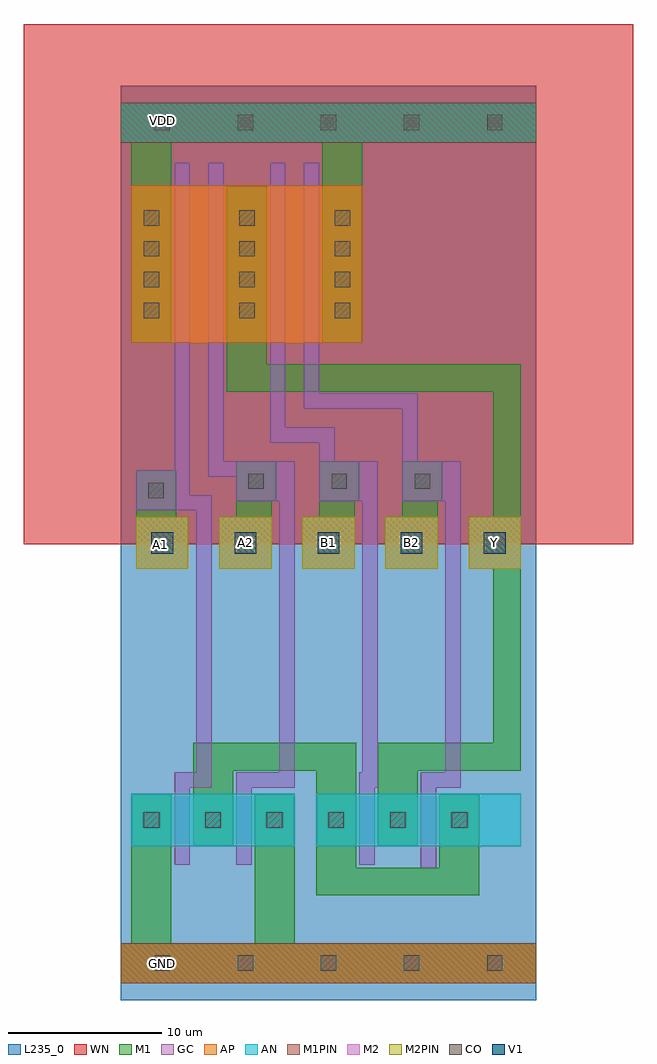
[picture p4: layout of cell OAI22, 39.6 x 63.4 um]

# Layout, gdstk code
import gdstk
lib = gdstk.Library(unit=1e-6, precision=1e-09)
def R(c, l, rs):  # rectangles x0, y0, x1, y1
    for r in rs: c.add(gdstk.rectangle(r[:2], r[2:], *l))
def A(c, l, x, y, w, h, nx, ny, dx, dy):  # array of equal rectangles
    R(c, l, [(x+i*dx, y+j*dy, x+i*dx+w, y+j*dy+h) for i in range(nx) for j in range(ny)])
def P(c, l, *ps):  # polygons
    for p in ps: c.add(gdstk.Polygon(p, *l))
AP = (3, 1)
AN = (3, 2)
GC = (8, 1)
CO = (11, 0)
M1 = (13, 0)
V1 = (19, 0)
M2 = (20, 0)
M1PIN = (48, 1)
M2PIN = (49, 1)
WN = (140, 0)
L235_0 = (235, 0)

oai22 = lib.new_cell('OAI22')
R(oai22, AP, [(0,1.1,27,3.7), (0.7,42.7,15.7,52.9)])
R(oai22, AN, [(0.7,10,11.3,13.4), (12.7,10,26,13.4), (0,55.7,27,58.3)])
P(oai22, GC, [(19.5,8.6),(19.5,14.8),(21.1,14.8),(21.1,32.4),(18.3,32.4),(18.3,38.4),(11.9,38.4),(11.9,54.4),(12.9,54.4),(12.9,39.4),(19.3,39.4),(19.3,35),(22.1,35),(22.1,13.8),(20.5,13.8),(20.5,8.6)],
  [(3.5,8.8),(3.5,14.8),(4.9,14.8),(4.9,31.8),(1,31.8),(1,34.4),(3.5,34.4),(3.5,54.4),(4.5,54.4),(4.5,32.8),(5.9,32.8),(5.9,13.8),(4.5,13.8),(4.5,8.8)],
  [(7.5,8.8),(7.5,14.8),(10.3,14.8),(10.3,32.4),(7.5,32.4),(7.5,34),(5.7,34),(5.7,54.4),(6.7,54.4),(6.7,35),(11.3,35),(11.3,13.8),(8.5,13.8),(8.5,8.8)],
  [(15.5,8.8),(15.5,14.8),(15.7,14.8),(15.7,32.4),(12.9,32.4),(12.9,36.2),(9.7,36.2),(9.7,54.4),(10.7,54.4),(10.7,37.2),(13.9,37.2),(13.9,35),(16.7,35),(16.7,13.8),(16.5,13.8),(16.5,8.8)])
A(oai22, CO, 7.6, 1.9, 1, 1, 4, 2, 5.4, 54.6)
A(oai22, CO, 1.5, 11.2, 1, 1, 6, 1, 4, 0)
A(oai22, CO, 8.3, 33.2, 1, 1, 3, 1, 5.4, 0)
A(oai22, CO, 1.5, 44.3, 1, 1, 3, 4, 6.2, 2)
R(oai22, CO, [(2.2,1.9,3.2,2.9), (7.6,1.9,8.6,2.9), (1.8,32.6,2.8,33.6), (2.2,56.5,3.2,57.5), (2.2,56.5,3.2,57.5), (7.6,56.5,8.6,57.5), (7.6,56.5,8.6,57.5), (7.6,56.5,8.6,57.5)])
R(oai22, M1, [(0,1.1,27,3.7), (0.7,3.7,3.3,13.4), (8.7,3.7,11.3,13.4), (0.7,42.7,3.3,55.7), (13.1,42.7,15.7,55.7), (0,55.7,27,58.3)])
P(oai22, M1, [(12.7,6.8),(12.7,14.9),(7.3,14.9),(7.3,10),(4.7,10),(4.7,16.7),(15.3,16.7),(15.3,8.6),(20.7,8.6),(20.7,13.4),(23.3,13.4),(23.3,6.8)],
  [(1,28),(1,34.4),(3.6,34.4),(3.6,31.4),(4.4,31.4),(4.4,28)],
  [(6.4,28),(6.4,31.4),(7.5,31.4),(7.5,35),(10.1,35),(10.1,32.4),(9.8,32.4),(9.8,28)],
  [(11.8,28),(11.8,31.4),(12.9,31.4),(12.9,35),(15.5,35),(15.5,32.4),(15.2,32.4),(15.2,28)],
  [(17.2,28),(17.2,31.4),(18.3,31.4),(18.3,35),(20.9,35),(20.9,32.4),(20.6,32.4),(20.6,28)],
  [(16.7,10),(16.7,16.7),(24.2,16.7),(24.2,28),(22.6,28),(22.6,31.4),(24.2,31.4),(24.2,39.5),(6.9,39.5),(6.9,52.9),(9.5,52.9),(9.5,41.3),(26,41.3),(26,14.9),(19.3,14.9),(19.3,10)])
A(oai22, V1, 2, 29, 1.4, 1.4, 5, 1, 5.4, 0)
A(oai22, M2, 1, 28, 3.4, 3.4, 5, 1, 5.4, 0)
R(oai22, M1PIN, [(0,1.1,27,3.7), (0,55.7,27,58.3)])
A(oai22, M2PIN, 1, 28, 3.4, 3.4, 5, 1, 5.4, 0)
R(oai22, WN, [(-6.3,29.6,33.3,63.4)])
R(oai22, L235_0, [(0,0,27,59.4)])
oai22.add(gdstk.Label('A1', (2.6,29.6), layer=49, texttype=0))
oai22.add(gdstk.Label('A2', (8.1,29.7), layer=49, texttype=0))
oai22.add(gdstk.Label('B1', (13.5,29.7), layer=49, texttype=0))
oai22.add(gdstk.Label('B2', (18.9,29.7), layer=49, texttype=0))
oai22.add(gdstk.Label('Y', (24.3,29.7), layer=49, texttype=0))
oai22.add(gdstk.Label('GND', (2.7,2.4), layer=48, texttype=0))
oai22.add(gdstk.Label('VDD', (2.7,57.1), layer=48, texttype=0))

lib.write_gds('OAI22.gds')
